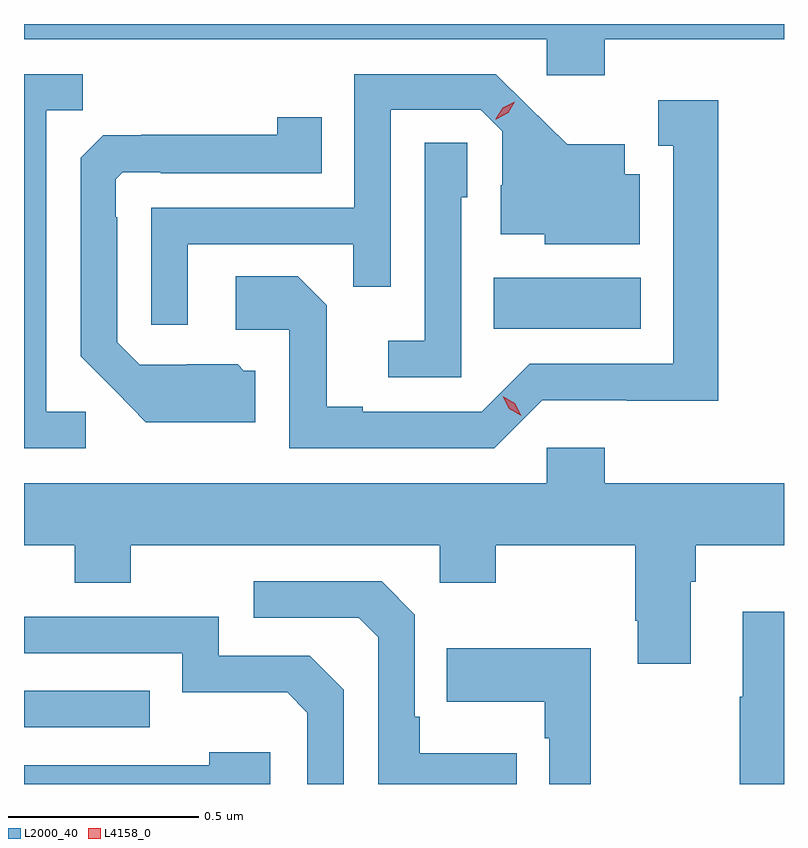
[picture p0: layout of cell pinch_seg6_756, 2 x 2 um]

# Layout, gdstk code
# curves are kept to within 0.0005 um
import gdstk
lib = gdstk.Library(unit=1e-6, precision=1e-09)
def R(c, l, rs):  # rectangles x0, y0, x1, y1
    for r in rs: c.add(gdstk.rectangle(r[:2], r[2:], *l))
def P(c, l, *ps):  # polygons
    for p in ps: c.add(gdstk.Polygon(p, *l))
L2000_40 = (2000, 40)
L4158_0 = (4158, 0)

pinch_seg6_756 = lib.new_cell('pinch_seg6_756')
R(pinch_seg6_756, L2000_40, [(627.862,936.201,628.193,936.297), (629.098,937.25,629.485,937.384)])
P(pinch_seg6_756, L2000_40, [(629.39,938.012),(629.862,938.012),(629.862,938.052),(627.862,938.052),(627.862,938.012),(629.238,938.012),(629.238,937.917),(629.39,937.917)],
  [(628.024,937.032),(627.921,937.032),(627.921,937.825),(628.017,937.825),(628.017,937.92),(627.862,937.92),(627.862,936.936),(628.024,936.936)],
  [(628.293,937.473),(628.729,937.473),(628.729,937.36),(628.827,937.36),(628.827,937.827),(629.064,937.827),(629.121,937.77),(629.121,937.628),(629.117,937.628),(629.117,937.499),(629.232,937.499),(629.232,937.472),(629.482,937.472),(629.482,937.657),(629.443,937.657),(629.443,937.735),(629.291,937.735),(629.104,937.92),(628.731,937.92),(628.731,937.569),(628.197,937.569),(628.197,937.26),(628.293,937.26)],
  [(629.226,937.062),(629.448,937.062),(629.448,937.061),(629.689,937.061),(629.689,937.852),(629.531,937.852),(629.531,937.731),(629.57,937.731),(629.57,937.158),(629.193,937.158),(629.067,937.032),(628.753,937.032),(628.753,937.045),(628.659,937.045),(628.659,937.312),(628.583,937.388),(628.419,937.388),(628.419,937.248),(628.56,937.248),(628.56,936.936),(629.1,936.936)],
  [(628.471,937.14),(628.44,937.14),(628.424,937.156),(628.29,937.156),(628.29,937.155),(628.167,937.155),(628.107,937.215),(628.107,937.544),(628.104,937.544),(628.104,937.644),(628.122,937.662),(628.222,937.662),(628.222,937.659),(628.646,937.659),(628.646,937.807),(628.528,937.807),(628.528,937.76),(628.171,937.76),(628.171,937.759),(628.07,937.759),(628.011,937.7),(628.011,937.178),(628.183,937.004),(628.471,937.004)],
  [(629.013,937.596),(629.028,937.596),(629.028,937.739),(628.917,937.739),(628.917,937.219),(628.821,937.219),(628.821,937.122),(629.013,937.122)],
  [(629.617,936.584),(629.63,936.584),(629.63,936.68),(629.862,936.68),(629.862,936.844),(629.39,936.844),(629.39,936.937),(629.238,936.937),(629.238,936.844),(627.862,936.844),(627.862,936.68),(627.995,936.68),(627.995,936.581),(628.143,936.581),(628.143,936.68),(628.956,936.68),(628.956,936.581),(629.103,936.581),(629.103,936.68),(629.47,936.68),(629.47,936.481),(629.477,936.481),(629.477,936.369),(629.617,936.369)],
  [(629.159,936.133),(628.903,936.133),(628.903,936.229),(628.89,936.229),(628.89,936.498),(628.803,936.585),(628.467,936.585),(628.467,936.489),(628.743,936.489),(628.794,936.438),(628.794,936.052),(629.159,936.052)],
  [(629.862,936.505),(629.753,936.505),(629.753,936.281),(629.746,936.281),(629.746,936.052),(629.862,936.052)],
  [(628.704,936.3),(628.614,936.39),(628.374,936.39),(628.374,936.492),(627.862,936.492),(627.862,936.396),(628.278,936.396),(628.278,936.293),(628.555,936.293),(628.608,936.24),(628.608,936.052),(628.704,936.052)],
  [(629.353,936.409),(628.975,936.409),(628.975,936.269),(629.232,936.269),(629.232,936.173),(629.244,936.173),(629.244,936.052),(629.353,936.052)],
  [(628.51,936.136),(628.349,936.136),(628.349,936.102),(627.862,936.102),(627.862,936.052),(628.51,936.052)])
P(pinch_seg6_756, L4158_0, [(629.104,937.802),(629.104,937.803),(629.122,937.832),(629.153,937.847),(629.153,937.847),(629.153,937.847),(629.136,937.818),(629.105,937.802)],
  [(629.17,937.021),(629.139,937.04),(629.122,937.073),(629.122,937.073),(629.122,937.073),(629.153,937.054),(629.17,937.021),(629.17,937.021)])

lib.write_gds('pinch_seg6_756.gds')
